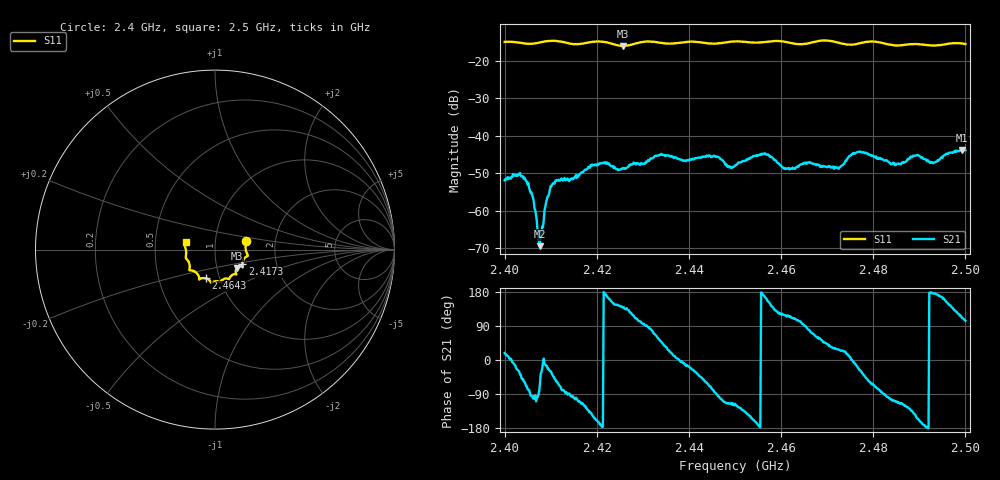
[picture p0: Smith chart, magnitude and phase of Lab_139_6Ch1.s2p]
# Hz S RI R 50
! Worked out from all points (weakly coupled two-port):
!   601 points, 2.4 GHz to 2.5 GHz, reference 50 ohm
!   highest |S21| = -43.79 dB at 2.4993 GHz (marker M1); lowest = -69.5 dB at 2.4077 GHz (marker M2)
!   lowest |S11| = -15.9 dB at 2.4257 GHz (marker M3), VSWR 1.38, Z = 62.4 - j13.1 ohm
!   |S11| at or under -10 dB: start of sweep to end of sweep
!   S12 and S22 are empty: the file has one direction only
!   S11 on the Smith chart (normalised r, x): 2.4 GHz: 1.41, +0.14; 2.4173 GHz: 1.34, -0.23; 2.4643 GHz: 0.86, -0.28; 2.5 GHz: 0.72, +0.06
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2.4e9  0.1734 0.0497  0.00242 0.000804  0 0  0 0
2.404667e9  0.1703 0.0176  0.000894 -0.0023  0 0  0 0
2.406167e9  0.1708 -0.000668  -0.000296 -0.00145  0 0  0 0
2.407667e9  0.1766 -0.0177  0.000146 -0.0003  0 0  0 0
2.409167e9  0.1822 -0.0295  0.00136 -0.000377  0 0  0 0
2.410333e9  0.1836 -0.0333  0.00177 -0.00137  0 0  0 0
2.416667e9  0.153 -0.0747  -0.00141 -0.00291  0 0  0 0
2.417333e9  0.1523 -0.0822  -0.00182 -0.00295  0 0  0 0
2.425667e9  0.1225 -0.1022  -0.00271 0.0024  0 0  0 0
2.433333e9  0.1129 -0.1367  0.00295 0.00459  0 0  0 0
2.45e9  0.0297 -0.1812  -0.00174 -0.00361  0 0  0 0
2.456333e9  -0.00915 -0.1794  -0.00562 0.00103  0 0  0 0
2.461e9  -0.026 -0.1784  -0.00164 0.00318  0 0  0 0
2.464333e9  -0.05 -0.1604  -0.000698 0.0041  0 0  0 0
2.466667e9  -0.0761 -0.16  0.00139 0.00406  0 0  0 0
2.4725e9  -0.0892 -0.1517  0.00321 0.00166  0 0  0 0
2.476833e9  -0.1254 -0.117  0.00563 -0.00236  0 0  0 0
2.483333e9  -0.1409 -0.0893  -0.000758 -0.00438  0 0  0 0
2.489333e9  -0.1629 -0.0448  -0.00477 -0.00269  0 0  0 0
2.493167e9  -0.1607 -0.0119  -0.00435 0.000304  0 0  0 0
2.499333e9  -0.167 0.0385  -0.00226 0.00606  0 0  0 0
2.5e9  -0.1637 0.0424  -0.00151 0.00624  0 0  0 0
